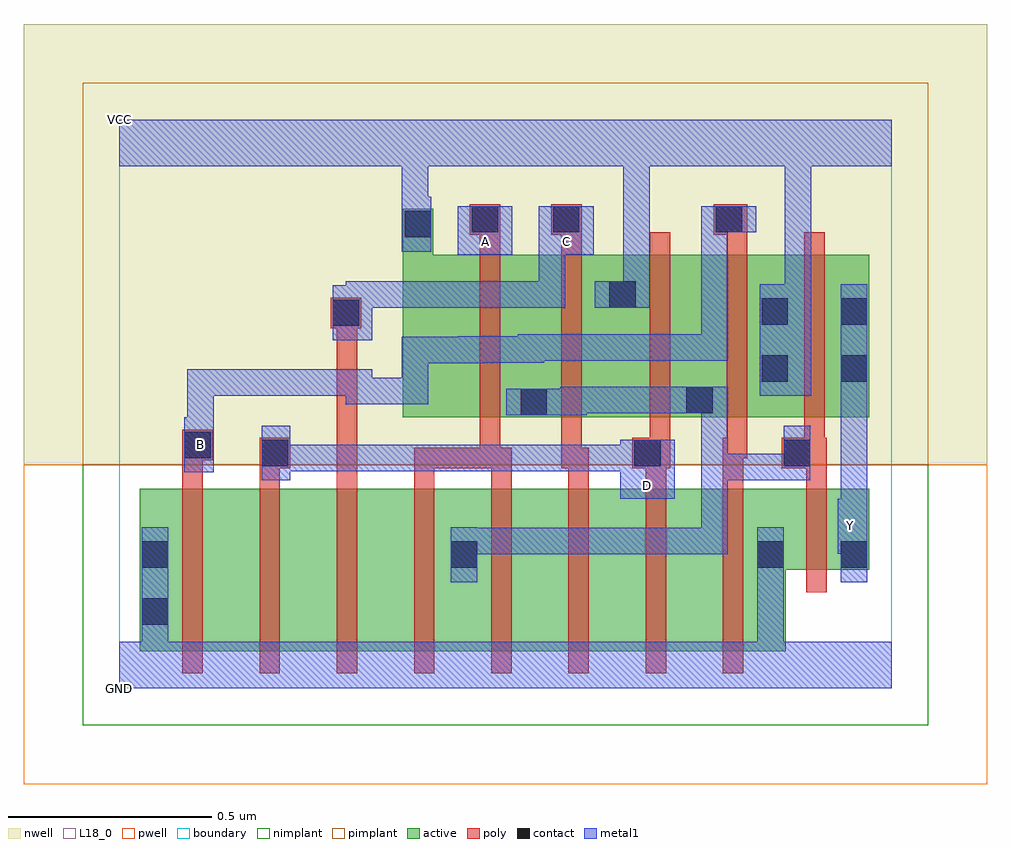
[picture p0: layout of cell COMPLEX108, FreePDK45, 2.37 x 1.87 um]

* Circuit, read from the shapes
.subckt COMPLEX108 A B C D GND VCC Y
M1 n1 B GND VSUBS nfet w=0.4u l=0.05u
M2 n2 D n1 VSUBS nfet w=0.4u l=0.05u
M3 n3 C n2 VSUBS nfet w=0.4u l=0.05u
M4 n4 A n3 VSUBS nfet w=0.4u l=0.05u
M5 n5 A n4 VSUBS nfet w=0.4u l=0.05u
M6 n6 C n5 VSUBS nfet w=0.4u l=0.05u
M7 n7 D n6 VSUBS nfet w=0.4u l=0.05u
M8 GND B n7 VSUBS nfet w=0.4u l=0.05u
M9 Y n4 GND VSUBS nfet w=0.2u l=0.05u
M10 n4 A VCC n8 pfet w=0.4u l=0.05u
M11 VCC C n4 n8 pfet w=0.4u l=0.05u
M12 n4 D VCC n8 pfet w=0.4u l=0.05u
M13 VCC B n4 n8 pfet w=0.4u l=0.05u
M14 Y n4 VCC n8 pfet w=0.4u l=0.05u
.ends

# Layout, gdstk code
import gdstk
lib = gdstk.Library(unit=1e-6, precision=1e-09)
def R(c, l, rs):  # rectangles x0, y0, x1, y1
    for r in rs: c.add(gdstk.rectangle(r[:2], r[2:], *l))
def A(c, l, x, y, w, h, nx, ny, dx, dy):  # array of equal rectangles
    R(c, l, [(x+i*dx, y+j*dy, x+i*dx+w, y+j*dy+h) for i in range(nx) for j in range(ny)])
active = (1, 0)
pwell = (2, 0)
nwell = (3, 0)
nimplant = (4, 0)
pimplant = (5, 0)
poly = (9, 0)
contact = (10, 0)
metal1 = (11, 0)
L18_0 = (18, 0)
boundary = (235, 0)

complex108 = lib.new_cell('COMPLEX108')
R(complex108, active, [(0.05,0.092,0.275,0.492), (0.05,0.092,0.125,0.492), (0.275,0.092,0.465,0.492), (0.465,0.092,0.655,0.492), (0.655,0.092,0.885,0.492), (0.81,0.092,1.035,0.492), (1.035,0.092,1.225,0.492), (1.225,0.092,1.415,0.492), (1.415,0.092,1.64,0.492), (1.565,0.092,1.64,0.457), (0.81,0.095,0.885,0.492), (1.565,0.292,1.845,0.492), (1.77,0.292,1.845,0.492), (0.697,0.667,1.057,1.067), (0.982,0.667,1.275,1.067), (0.982,0.667,1.057,0.747), (1.2,0.667,1.465,1.067), (1.39,0.667,1.65,1.067), (1.575,0.667,1.845,1.067), (1.77,0.667,1.845,1.067), (0.697,0.672,0.772,1.18), (1.39,0.672,1.465,1.067), (1.575,0.707,1.65,1.067), (1.2,0.907,1.275,1.067)])
R(complex108, pwell, [(-0.235,-0.235,2.135,0.55)])
R(complex108, nwell, [(-0.235,0.55,2.135,1.635)])
R(complex108, nimplant, [(-0.09,-0.09,1.99,0.55)])
R(complex108, pimplant, [(-0.09,0.55,1.99,1.49)])
A(complex108, poly, 0.155, 0.037, 0.05, 0.51, 8, 1, 0.19, 0)
A(complex108, poly, 0.725, 0.497, 0.05, 0.095, 4, 1, 0.19, 0)
A(complex108, poly, 1.305, 0.567, 0.05, 0.095, 3, 1, 0.19, 0)
A(complex108, poly, 1.305, 0.612, 0.05, 0.51, 3, 1, 0.19, 0)
R(complex108, poly, [(1.69,0.237,1.74,0.547), (0.155,0.497,0.205,0.612), (0.345,0.497,0.395,0.592), (0.535,0.497,0.585,0.937), (1.485,0.497,1.535,0.617), (1.69,0.497,1.74,0.592), (0.345,0.542,0.42,0.617), (0.725,0.542,0.937,0.592), (0.725,0.542,0.775,0.592), (0.725,0.542,0.775,0.592), (0.725,0.542,0.775,0.592), (0.887,0.542,0.937,0.662), (0.887,0.542,0.965,0.592), (1.087,0.542,1.137,0.662), (1.087,0.542,1.155,0.592), (1.262,0.542,1.355,0.617), (1.63,0.542,1.74,0.617), (0.155,0.562,0.23,0.637), (1.485,0.567,1.545,0.617), (0.887,0.612,0.937,1.122), (1.087,0.612,1.137,1.122), (0.52,0.887,0.595,0.962), (0.535,0.887,0.585,0.937), (0.535,0.887,0.585,0.937), (0.535,0.887,0.585,0.937), (0.535,0.887,0.585,0.937), (0.887,1.072,0.937,1.167), (1.087,1.072,1.137,1.167), (1.495,1.072,1.545,1.167), (0.862,1.117,0.937,1.192), (1.062,1.117,1.137,1.192), (1.462,1.117,1.545,1.192)])
R(complex108, contact, [(0.055,0.157,0.12,0.222), (0.055,0.297,0.12,0.362), (0.815,0.297,0.88,0.362), (1.57,0.297,1.635,0.362), (1.775,0.297,1.84,0.362), (0.35,0.547,0.415,0.612), (1.267,0.547,1.332,0.612), (1.635,0.547,1.7,0.612), (0.16,0.567,0.225,0.632), (0.987,0.672,1.052,0.737), (1.395,0.677,1.46,0.742), (1.58,0.755,1.645,0.82), (1.775,0.755,1.84,0.82), (0.525,0.892,0.59,0.957), (1.58,0.895,1.645,0.96), (1.775,0.895,1.84,0.96), (1.205,0.937,1.27,1.002), (0.702,1.11,0.767,1.175), (0.867,1.122,0.932,1.187), (1.067,1.122,1.132,1.187), (1.467,1.122,1.532,1.187)])
R(complex108, metal1, [(0,0,1.9,0.115), (0.055,0.05,0.12,0.187), (1.57,0.05,1.635,0.327), (0.055,0.122,0.12,0.397), (0.815,0.262,0.88,0.397), (1.57,0.262,1.635,0.397), (1.775,0.262,1.84,0.397), (0.815,0.33,0.897,0.395), (0.832,0.33,0.897,0.395), (0.832,0.33,1.097,0.395), (1.032,0.33,1.097,0.395), (1.032,0.33,1.105,0.395), (1.04,0.33,1.105,0.395), (1.04,0.33,1.287,0.395), (1.222,0.33,1.287,0.395), (1.222,0.33,1.36,0.395), (1.295,0.33,1.36,0.395), (1.295,0.33,1.497,0.395), (1.432,0.33,1.497,0.395), (1.432,0.33,1.497,0.577), (1.767,0.332,1.84,0.467), (1.775,0.332,1.84,0.397), (1.775,0.402,1.84,0.785), (1.232,0.467,1.367,0.612), (0.35,0.512,0.42,0.647), (1.432,0.512,1.497,0.577), (1.432,0.512,1.56,0.577), (1.432,0.512,1.497,0.742), (1.495,0.512,1.56,0.577), (1.495,0.512,1.695,0.577), (1.63,0.512,1.695,0.577), (1.63,0.512,1.7,0.577), (1.635,0.512,1.7,0.647), (0.16,0.532,0.232,0.667), (0.355,0.535,0.42,0.6), (0.355,0.535,0.42,0.6), (0.355,0.535,0.557,0.6), (0.492,0.535,0.557,0.6), (0.492,0.535,0.557,0.6), (0.492,0.535,0.557,0.6), (0.492,0.535,0.76,0.6), (0.695,0.535,0.76,0.6), (0.695,0.535,0.76,0.6), (0.695,0.535,0.76,0.6), (0.695,0.535,0.897,0.6), (0.832,0.535,0.897,0.6), (0.832,0.535,1.097,0.6), (1.032,0.535,1.097,0.6), (1.032,0.535,1.105,0.6), (1.04,0.535,1.105,0.6), (1.04,0.535,1.287,0.6), (1.222,0.535,1.287,0.6), (1.222,0.535,1.297,0.6), (0.167,0.602,0.232,0.667), (0.167,0.602,0.232,0.667), (0.167,0.602,0.232,0.785), (0.952,0.672,1.087,0.737), (1.022,0.672,1.15,0.737), (1.085,0.672,1.15,0.742), (1.085,0.677,1.287,0.742), (1.222,0.677,1.287,0.742), (1.222,0.677,1.305,0.742), (1.24,0.677,1.305,0.742), (1.24,0.677,1.425,0.742), (1.36,0.677,1.497,0.742), (0.557,0.7,0.622,0.765), (0.557,0.7,0.622,0.765), (0.557,0.7,0.76,0.765), (0.557,0.7,0.622,0.785), (0.695,0.7,0.76,0.765), (0.695,0.7,0.76,0.765), (0.695,0.7,0.76,0.765), (0.695,0.7,0.76,0.865), (0.167,0.72,0.232,0.785), (0.167,0.72,0.37,0.785), (0.305,0.72,0.37,0.785), (0.305,0.72,0.37,0.785), (0.305,0.72,0.37,0.785), (0.305,0.72,0.622,0.785), (1.575,0.72,1.702,0.995), (1.775,0.72,1.84,0.995), (0.695,0.8,0.76,0.865), (0.695,0.8,0.897,0.865), (0.832,0.8,0.897,0.867), (0.832,0.802,1.045,0.867), (0.98,0.802,1.045,0.872), (0.98,0.807,1.105,0.872), (1.04,0.807,1.105,0.872), (1.04,0.807,1.287,0.872), (1.222,0.807,1.287,0.872), (1.222,0.807,1.287,0.872), (1.222,0.807,1.287,0.872), (1.222,0.807,1.36,0.872), (1.295,0.807,1.36,0.872), (1.295,0.807,1.497,0.872), (1.432,0.807,1.497,0.872), (1.432,0.807,1.497,1.187), (0.525,0.857,0.622,0.992), (0.557,0.927,0.622,0.992), (0.557,0.927,0.622,0.992), (0.557,0.927,0.622,1.002), (1.637,0.93,1.702,1.35), (0.557,0.937,0.622,1.002), (0.557,0.937,0.76,1.002), (0.695,0.937,0.76,1.002), (0.695,0.937,0.76,1.002), (0.695,0.937,0.76,1.002), (0.695,0.937,0.96,1.002), (0.895,0.937,0.96,1.002), (0.895,0.937,1.097,1.002), (1.032,0.937,1.097,1.002), (1.032,0.937,1.097,1.132), (1.17,0.937,1.305,1.002), (1.24,0.937,1.305,1.35), (0.832,1.067,0.967,1.187), (1.032,1.067,1.097,1.132), (1.032,1.067,1.097,1.132), (1.032,1.067,1.097,1.132), (1.032,1.067,1.097,1.132), (1.032,1.067,1.167,1.187), (0.695,1.075,0.767,1.21), (1.432,1.122,1.497,1.187), (1.432,1.122,1.497,1.187), (1.432,1.122,1.497,1.187), (1.432,1.122,1.497,1.187), (1.432,1.122,1.567,1.187), (0.695,1.145,0.76,1.21), (0.695,1.145,0.76,1.21), (0.695,1.145,0.76,1.35), (0,1.285,1.9,1.4), (0.695,1.285,0.76,1.35), (0.695,1.285,0.76,1.35), (1.24,1.285,1.305,1.35), (1.24,1.285,1.305,1.35), (1.24,1.285,1.305,1.35), (1.24,1.285,1.305,1.35), (1.637,1.285,1.705,1.35), (1.64,1.285,1.705,1.35), (1.64,1.285,1.705,1.35), (1.64,1.285,1.705,1.35)])
R(complex108, L18_0, [(0,0,1.9,0.115), (0.055,0.05,0.12,0.187), (1.57,0.05,1.635,0.327), (0.055,0.122,0.12,0.397), (1.57,0.262,1.635,0.397), (1.775,0.262,1.84,0.397), (1.767,0.332,1.84,0.467), (1.775,0.332,1.84,0.397), (1.767,0.367,1.832,0.432), (1.775,0.402,1.84,0.785), (1.232,0.467,1.367,0.612), (1.267,0.467,1.332,0.532), (0.35,0.512,0.42,0.647), (0.16,0.532,0.232,0.667), (0.355,0.535,0.42,0.6), (0.355,0.535,0.42,0.6), (0.355,0.535,0.557,0.6), (0.492,0.535,0.557,0.6), (0.492,0.535,0.557,0.6), (0.492,0.535,0.557,0.6), (0.492,0.535,0.76,0.6), (0.695,0.535,0.76,0.6), (0.695,0.535,0.76,0.6), (0.695,0.535,0.76,0.6), (0.695,0.535,0.897,0.6), (0.832,0.535,0.897,0.6), (0.832,0.535,1.097,0.6), (1.032,0.535,1.097,0.6), (1.032,0.535,1.105,0.6), (1.04,0.535,1.105,0.6), (1.04,0.535,1.287,0.6), (1.222,0.535,1.287,0.6), (1.222,0.535,1.297,0.6), (0.167,0.567,0.232,0.632), (0.167,0.602,0.232,0.667), (0.167,0.602,0.232,0.667), (0.167,0.602,0.232,0.785), (0.557,0.7,0.622,0.765), (0.557,0.7,0.622,0.765), (0.557,0.7,0.76,0.765), (0.557,0.7,0.622,0.785), (0.695,0.7,0.76,0.765), (0.695,0.7,0.76,0.765), (0.695,0.7,0.76,0.765), (0.695,0.7,0.76,0.865), (0.167,0.72,0.232,0.785), (0.167,0.72,0.37,0.785), (0.305,0.72,0.37,0.785), (0.305,0.72,0.37,0.785), (0.305,0.72,0.37,0.785), (0.305,0.72,0.622,0.785), (1.575,0.72,1.702,0.995), (1.775,0.72,1.84,0.995), (0.695,0.8,0.76,0.865), (0.695,0.8,0.897,0.865), (0.832,0.8,0.897,0.867), (0.832,0.802,1.045,0.867), (0.98,0.802,1.045,0.872), (0.98,0.807,1.105,0.872), (1.04,0.807,1.105,0.872), (1.04,0.807,1.287,0.872), (1.222,0.807,1.287,0.872), (1.222,0.807,1.287,0.872), (1.222,0.807,1.287,0.872), (1.222,0.807,1.36,0.872), (1.295,0.807,1.36,0.872), (1.295,0.807,1.497,0.872), (1.432,0.807,1.497,0.872), (1.432,0.807,1.497,1.187), (0.525,0.857,0.622,0.992), (0.557,0.927,0.622,0.992), (0.557,0.927,0.622,0.992), (0.557,0.927,0.622,1.002), (1.637,0.93,1.702,1.35), (0.557,0.937,0.622,1.002), (0.557,0.937,0.76,1.002), (0.695,0.937,0.76,1.002), (0.695,0.937,0.76,1.002), (0.695,0.937,0.76,1.002), (0.695,0.937,0.96,1.002), (0.895,0.937,0.96,1.002), (0.895,0.937,1.097,1.002), (1.032,0.937,1.097,1.002), (1.032,0.937,1.097,1.132), (1.17,0.937,1.305,1.002), (1.24,0.937,1.305,1.35), (0.832,1.067,0.967,1.187), (0.867,1.067,0.932,1.132), (1.032,1.067,1.097,1.132), (1.032,1.067,1.097,1.132), (1.032,1.067,1.097,1.132), (1.032,1.067,1.097,1.132), (1.032,1.067,1.167,1.187), (1.067,1.067,1.132,1.132), (0.695,1.075,0.767,1.21), (1.432,1.122,1.497,1.187), (1.432,1.122,1.497,1.187), (1.432,1.122,1.497,1.187), (1.432,1.122,1.497,1.187), (1.432,1.122,1.567,1.187), (0.695,1.145,0.76,1.21), (0.695,1.145,0.76,1.21), (0.695,1.145,0.76,1.35), (0,1.285,1.9,1.4), (0.695,1.285,0.76,1.35), (0.695,1.285,0.76,1.35), (1.24,1.285,1.305,1.35), (1.24,1.285,1.305,1.35), (1.24,1.285,1.305,1.35), (1.24,1.285,1.305,1.35), (1.637,1.285,1.705,1.35), (1.64,1.285,1.705,1.35), (1.64,1.285,1.705,1.35), (1.64,1.285,1.705,1.35)])
R(complex108, boundary, [(0,0,1.9,1.4)])
complex108.add(gdstk.Label('A', (0.9,1.1), layer=11, texttype=0))
complex108.add(gdstk.Label('B', (0.2,0.6), layer=11, texttype=0))
complex108.add(gdstk.Label('C', (1.1,1.1), layer=11, texttype=0))
complex108.add(gdstk.Label('D', (1.3,0.5), layer=11, texttype=0))
complex108.add(gdstk.Label('Y', (1.8,0.4), layer=11, texttype=0))
complex108.add(gdstk.Label('VCC', (0,1.4), layer=11, texttype=0))
complex108.add(gdstk.Label('GND', (0,0), layer=11, texttype=0))

lib.write_gds('COMPLEX108.gds')
